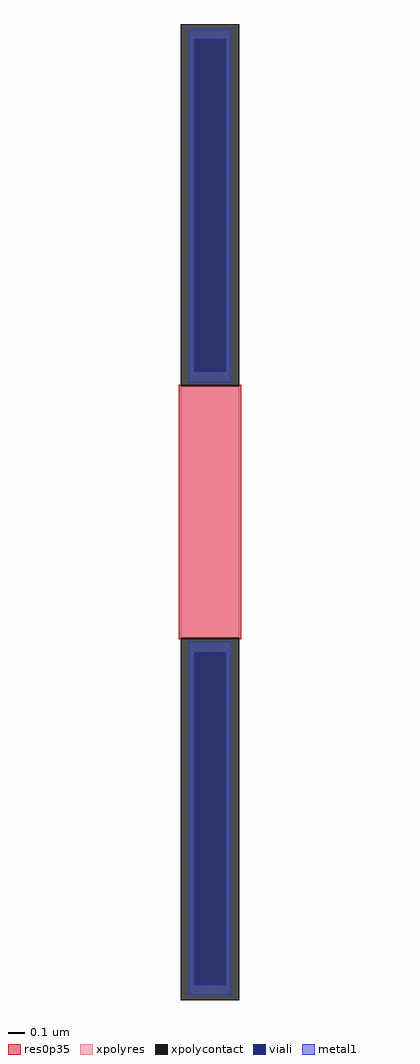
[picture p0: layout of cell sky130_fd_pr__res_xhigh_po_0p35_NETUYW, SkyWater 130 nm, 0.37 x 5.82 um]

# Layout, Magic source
magic
tech sky130A
magscale 1 2
<< xpolycontact >>
rect -35 150 35 582
rect -35 -582 35 -150
<< xpolyres >>
rect -35 -150 35 150
<< viali >>
rect -19 167 19 564
rect -19 -564 19 -167
<< metal1 >>
rect -25 564 25 576
rect -25 167 -19 564
rect 19 167 25 564
rect -25 155 25 167
rect -25 -167 25 -155
rect -25 -564 -19 -167
rect 19 -564 25 -167
rect -25 -576 25 -564
<< res0p35 >>
rect -37 -152 37 152
<< properties >>
string gencell sky130_fd_pr__res_xhigh_po_0p35
string parameters w 0.350 l 1.5 m 1 nx 1 wmin 0.350 lmin 0.50 rho 2000 val 9.257k dummy 0 dw 0.0 term 120 sterm 0.0 caplen 0 wmax 0.350 guard 0 glc 0 grc 0 gtc 0 gbc 0 compatible {sky130_fd_pr__res_xhigh_po_0p35  sky130_fd_pr__res_xhigh_po_0p69 sky130_fd_pr__res_xhigh_po_1p41  sky130_fd_pr__res_xhigh_po_2p85 sky130_fd_pr__res_xhigh_po_5p73} full_metal 0 vias 1 viagb 0 viagt 0 viagl 0 viagr 0
string library sky130
<< end >>
